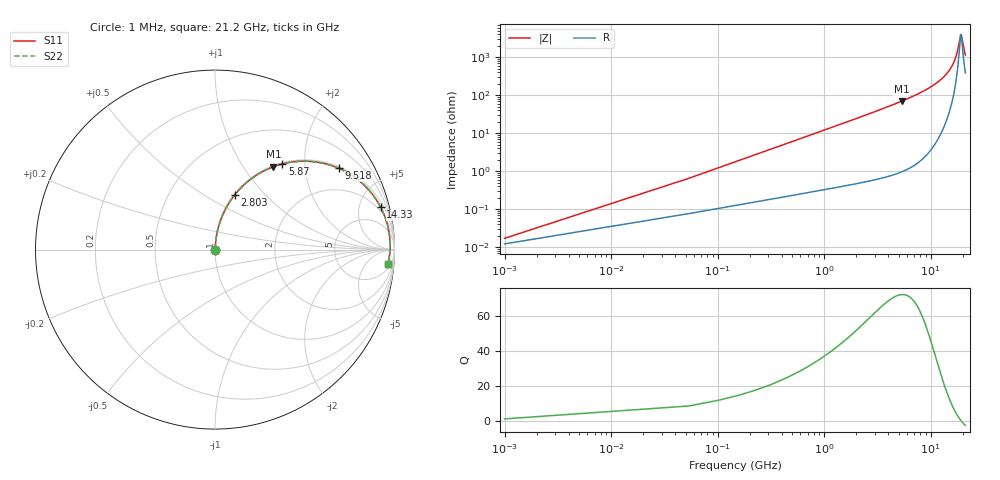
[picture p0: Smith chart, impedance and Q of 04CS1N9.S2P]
! Coilcraft 0402CS-1N9 Chip Inductor
! 22 July 2002
# MHZ S MA R 50
!Freq  MagS11  AngS11  MagS21  AngS21  MagS12  AngS12  MagS22  AngS22
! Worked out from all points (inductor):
!   402 points, 1 MHz to 21.2 GHz, reference 50 ohm
!   read as one part in series: L = 1.9 nH near 106.7 MHz
!   highest Q = 72.6 at 5.341 GHz (marker M1), where L = 2.06 nH
!   self-resonance near 19.27 GHz
!   S11 on the Smith chart (normalised r, x): 1 MHz: 1.00, +0.00; 2.803 GHz: 1.01, +0.68; 5.87 GHz: 1.02, +1.55; 9.518 GHz: 1.06, +3.01; 14.33 GHz: 1.49, +7.63; 21.2 GHz: 9, -21
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1  0.00017 44.6  0.9999 -0.0  0.9999 -0.0  0.00017 44.6
159.61  0.01907 85.0  0.9985 -1.1  0.9985 -1.1  0.01907 85.0
265.35  0.03166 85.2  0.9978 -1.8  0.9978 -1.8  0.03166 85.2
476.83  0.05678 84.5  0.9962 -3.3  0.9962 -3.3  0.05678 84.5
846.92  0.1005 82.6  0.992 -5.8  0.992 -5.8  0.1005 82.6
1322.75  0.1562 79.7  0.9841 -9.0  0.9841 -9.0  0.1562 79.7
2803.11  0.3219 70.3  0.9415 -18.8  0.9415 -18.8  0.3219 70.3
3543.29  0.3989 65.6  0.911 -23.5  0.911 -23.5  0.3989 65.6
5340.87  0.5648 54.8  0.8175 -34.4  0.8175 -34.4  0.5648 54.8
5869.57  0.6073 51.8  0.7861 -37.4  0.7861 -37.4  0.6073 51.8
7085.58  0.6943 45.2  0.7096 -44.0  0.7096 -44.0  0.6943 45.2
9517.6  0.8252 33.3  0.5488 -55.6  0.5488 -55.6  0.8252 33.3
10627.87  0.868 28.4  0.4758 -60.2  0.4758 -60.2  0.868 28.4
14170.16  0.9505 14.9  0.2581 -71.6  0.2581 -71.6  0.9505 14.9
14328.77  0.9527 14.4  0.2491 -71.9  0.2491 -71.9  0.9527 14.4
16284.96  0.9707 8.2  0.1437 -74.2  0.1437 -74.2  0.9707 8.2
17712.45  0.9758 4.1  0.07463 -69.0  0.07463 -69.0  0.9758 4.1
18981.33  0.9757 0.7  0.02733 -27.1  0.02733 -27.1  0.9757 0.7
19245.68  0.9753 0.1  0.02473 -2.4  0.02473 -2.4  0.9753 0.1
19510.03  0.9747 -0.6  0.02733 21.9  0.02733 21.9  0.9747 -0.6
20514.56  0.9712 -3.0  0.0594 59.6  0.0594 59.6  0.9712 -3.0
21200  0.9679 -4.6  0.08522 65.6  0.08522 65.6  0.9679 -4.6
